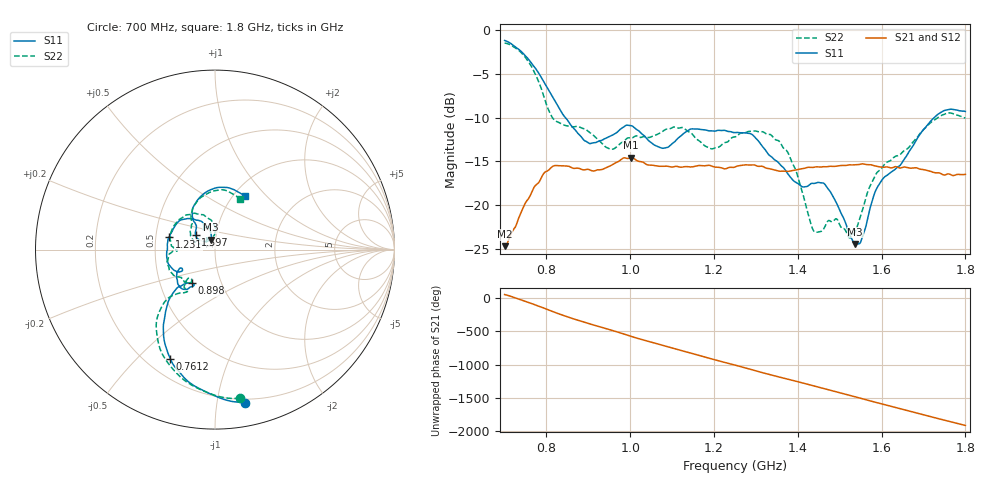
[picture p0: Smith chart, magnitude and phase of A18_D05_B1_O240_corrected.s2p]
! Created with skrf 1.9.0 (http://scikit-rf.org).
# Hz S RI R 50.0
!freq ReS11 ImS11 ReS21 ImS21 ReS12 ImS12 ReS22 ImS22
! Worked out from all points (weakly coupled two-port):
!   1601 points, 700 MHz to 1.8 GHz, reference 50 ohm
!   highest |S21| = -14.58 dB at 1.002 GHz (marker M1); lowest = -24.7 dB at 700 MHz (marker M2)
!   lowest |S11| = -24.4 dB at 1.537 GHz (marker M3), VSWR 1.13, Z = 47.3 + j5.2 ohm
!   |S11| at or under -10 dB: 845 MHz to 1.726 GHz (880.7 MHz wide, 68.5 % of centre)
!   |S22| runs from -23.7 to -1.5 dB; largest |S21 - S12| = 0.0035
!   S11 on the Smith chart (normalised r, x): 700 MHz: 0.17, -1.20; 761.2 MHz: 0.29, -0.63; 898 MHz: 0.72, -0.29; 1.231 GHz: 0.59, +0.09; 1.597 GHz: 0.79, +0.13; 1.8 GHz: 1.12, +0.76
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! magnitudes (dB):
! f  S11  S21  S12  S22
! 700 MHz  -1.2  -24.7  -24.4  -1.5
! 761.2 MHz  -3.6  -18.9  -18.8  -4.0
! 816.2 MHz  -7.8  -15.5  -15.6  -10.1
! 883.6 MHz  -12.2  -15.9  -15.8  -11.2
! 898 MHz  -12.8  -15.9  -16.0  -11.5
! 953 MHz  -12.1  -15.5  -15.5  -13.6
! 1.002 GHz  -10.9  -14.6  -14.7  -12.3
! 1.067 GHz  -13.3  -15.5  -15.5  -11.9
! 1.145 GHz  -11.3  -15.6  -15.6  -11.8
! 1.192 GHz  -11.5  -15.5  -15.5  -13.5
! 1.231 GHz  -11.6  -15.8  -15.7  -12.8
! 1.25 GHz  -11.7  -15.6  -15.6  -12.2
! 1.357 GHz  -15.3  -16.1  -16.1  -12.8
! 1.395 GHz  -17.4  -16.0  -16.0  -16.0
! 1.434 GHz  -17.5  -15.7  -15.7  -22.5
! 1.473 GHz  -18.2  -15.6  -15.6  -21.8
! 1.537 GHz  -24.4  -15.4  -15.4  -23.0
! 1.552 GHz  -23.9  -15.3  -15.3  -20.9
! 1.597 GHz  -17.4  -15.6  -15.6  -15.9
! 1.617 GHz  -16.4  -15.7  -15.6  -15.0
! 1.732 GHz  -9.7  -16.3  -16.3  -10.1
! 1.8 GHz  -9.3  -16.5  -16.5  -10.1
